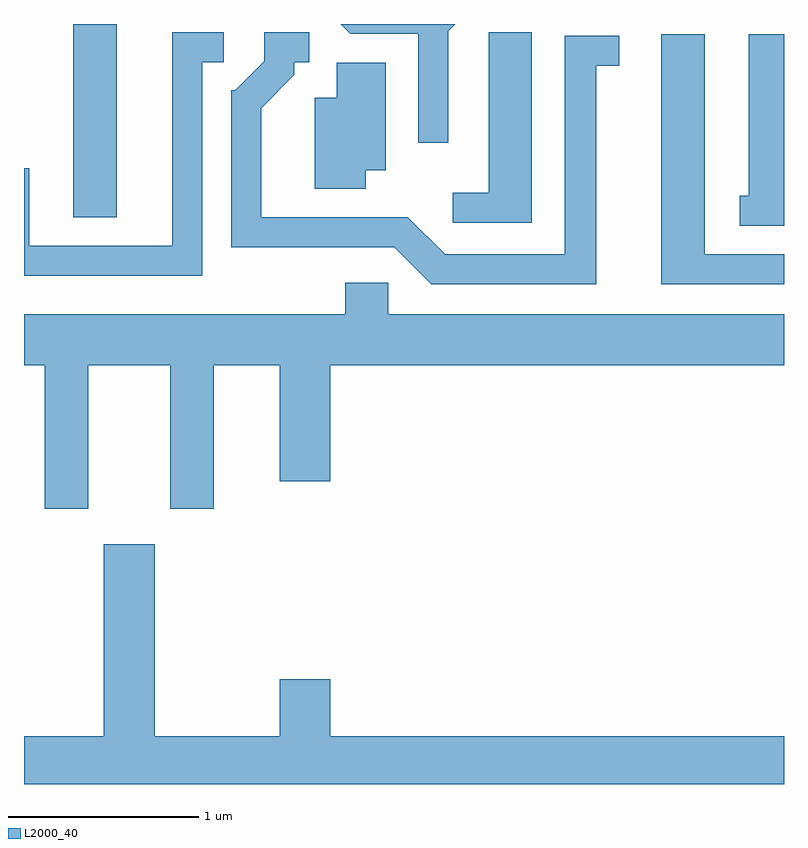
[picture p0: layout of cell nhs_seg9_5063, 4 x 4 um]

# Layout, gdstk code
import gdstk
lib = gdstk.Library(unit=1e-6, precision=1e-09)
def R(c, l, rs):  # rectangles x0, y0, x1, y1
    for r in rs: c.add(gdstk.rectangle(r[:2], r[2:], *l))
def P(c, l, *ps):  # polygons
    for p in ps: c.add(gdstk.Polygon(p, *l))
L2000_40 = (2000, 40)

nhs_seg9_5063 = lib.new_cell('nhs_seg9_5063')
R(nhs_seg9_5063, L2000_40, [(333.871,2061.416,334.099,2062.432)])
P(nhs_seg9_5063, L2000_40, [(335.844,2062.394),(335.882,2062.432),(335.278,2062.432),(335.329,2062.381),(335.686,2062.381),(335.686,2061.808),(335.844,2061.808)],
  [(334.549,2062.231),(334.663,2062.231),(334.663,2062.389),(334.391,2062.389),(334.391,2061.264),(333.639,2061.264),(333.639,2061.674),(333.611,2061.674),(333.611,2061.106),(334.549,2061.106)],
  [(336.284,2062.389),(336.056,2062.389),(336.056,2061.544),(335.868,2061.544),(335.868,2061.386),(336.284,2061.386)],
  [(336.624,2062.211),(336.743,2062.211),(336.743,2062.369),(336.456,2062.369),(336.456,2061.219),(335.827,2061.219),(335.632,2061.414),(334.859,2061.414),(334.859,2061.989),(335.034,2062.164),(335.034,2062.231),(335.113,2062.231),(335.113,2062.389),(334.876,2062.389),(334.876,2062.237),(334.724,2062.084),(334.701,2062.084),(334.701,2061.256),(335.559,2061.256),(335.754,2061.061),(336.624,2061.061)],
  [(337.611,2062.379),(337.426,2062.379),(337.426,2061.529),(337.378,2061.529),(337.378,2061.371),(337.611,2061.371)],
  [(337.611,2061.219),(337.194,2061.219),(337.194,2062.379),(336.966,2062.379),(336.966,2061.061),(337.611,2061.061)],
  [(335.409,2061.661),(335.514,2061.661),(335.514,2062.229),(335.256,2062.229),(335.256,2062.044),(335.141,2062.044),(335.141,2061.566),(335.409,2061.566)],
  [(333.949,2060.636),(334.381,2060.636),(334.381,2059.881),(334.609,2059.881),(334.609,2060.636),(334.956,2060.636),(334.956,2060.026),(335.224,2060.026),(335.224,2060.636),(337.611,2060.636),(337.611,2060.904),(335.529,2060.904),(335.529,2061.069),(335.301,2061.069),(335.301,2060.904),(333.611,2060.904),(333.611,2060.636),(333.721,2060.636),(333.721,2059.881),(333.949,2059.881)],
  [(337.611,2058.684),(335.224,2058.684),(335.224,2058.984),(334.956,2058.984),(334.956,2058.684),(334.299,2058.684),(334.299,2059.694),(334.031,2059.694),(334.031,2058.684),(333.611,2058.684),(333.611,2058.432),(337.611,2058.432)])

lib.write_gds('nhs_seg9_5063.gds')
